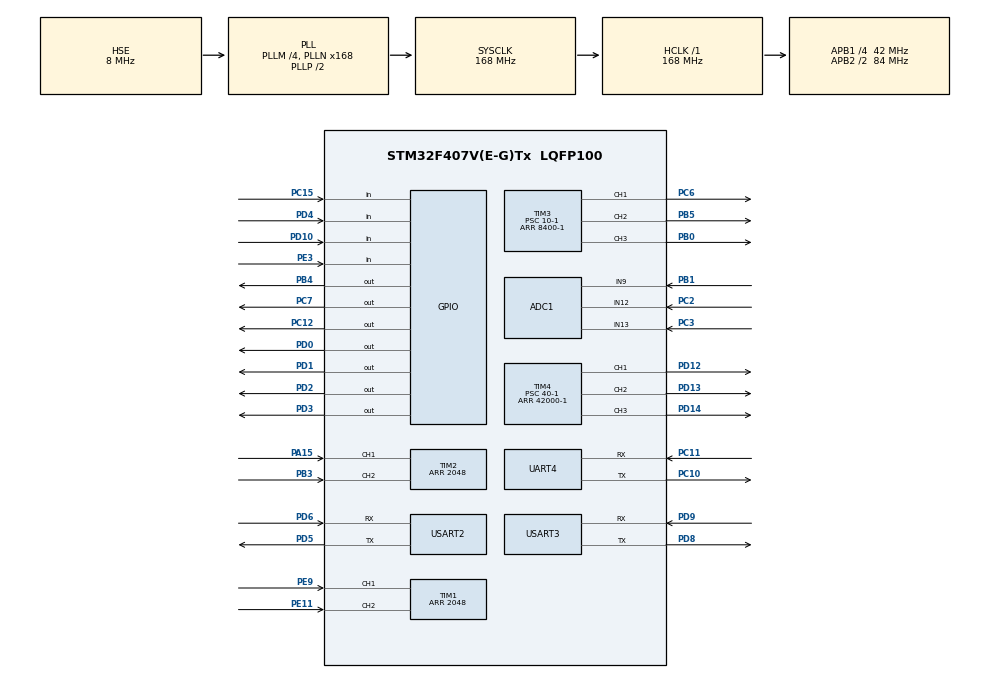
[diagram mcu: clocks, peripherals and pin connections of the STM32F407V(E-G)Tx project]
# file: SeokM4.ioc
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ADC1.Channel-0\#ChannelRegularConversion=ADC_CHANNEL_9
ADC1.Channel-1\#ChannelRegularConversion=ADC_CHANNEL_12
ADC1.Channel-2\#ChannelRegularConversion=ADC_CHANNEL_13
ADC1.ContinuousConvMode=ENABLE
ADC1.DMAContinuousRequests=ENABLE
ADC1.NbrOfConversion=3
ADC1.NbrOfConversionFlag=1
ADC1.Rank-0\#ChannelRegularConversion=1
ADC1.Rank-1\#ChannelRegularConversion=2
ADC1.Rank-2\#ChannelRegularConversion=3
ADC1.SamplingTime-0\#ChannelRegularConversion=ADC_SAMPLETIME_144CYCLES
ADC1.SamplingTime-1\#ChannelRegularConversion=ADC_SAMPLETIME_144CYCLES
ADC1.SamplingTime-2\#ChannelRegularConversion=ADC_SAMPLETIME_144CYCLES
ADC1.ScanConvMode=ENABLE
ADC1.master=1
Dma.ADC1.0.Direction=DMA_PERIPH_TO_MEMORY
Dma.ADC1.0.FIFOMode=DMA_FIFOMODE_DISABLE
Dma.ADC1.0.Instance=DMA2_Stream0
Dma.ADC1.0.MemDataAlignment=DMA_MDATAALIGN_HALFWORD
Dma.ADC1.0.MemInc=DMA_MINC_ENABLE
Dma.ADC1.0.Mode=DMA_CIRCULAR
Dma.ADC1.0.PeriphDataAlignment=DMA_PDATAALIGN_HALFWORD
Dma.ADC1.0.PeriphInc=DMA_PINC_DISABLE
Dma.ADC1.0.Priority=DMA_PRIORITY_LOW
Dma.Request0=ADC1
Mcu.Family=STM32F4
Mcu.Name=STM32F407V(E-G)Tx
Mcu.Package=LQFP100
NVIC.DMA2_Stream0_IRQn=true\:0\:0\:false\:false\:true\:false
NVIC.PriorityGroup=NVIC_PRIORITYGROUP_4
NVIC.TIM7_IRQn=true\:0\:0\:false\:true\:true\:2\:true
NVIC.UART4_IRQn=true\:0\:0\:false\:false\:true\:true
NVIC.USART2_IRQn=true\:0\:0\:false\:false\:true\:true
NVIC.USART3_IRQn=true\:0\:0\:false\:true\:true\:1\:true
PA15.GPIO_PuPd=GPIO_PULLUP
PA15.GPIO_Speed=GPIO_SPEED_FREQ_LOW
PA15.Signal=S_TIM2_CH1_ETR
PB0.Signal=S_TIM3_CH3
PB1.Signal=ADCx_IN9
PB3.GPIO_PuPd=GPIO_PULLUP
PB3.GPIO_Speed=GPIO_SPEED_FREQ_LOW
PB3.Signal=S_TIM2_CH2
PB4.Signal=GPIO_Output
PB5.Signal=S_TIM3_CH2
PC10.Mode=Asynchronous
PC10.Signal=UART4_TX
PC11.Mode=Asynchronous
PC11.Signal=UART4_RX
PC12.Signal=GPIO_Output
PC15-OSC32_OUT.Signal=GPIO_Input
PC2.Signal=ADCx_IN12
PC3.Signal=ADCx_IN13
PC6.Signal=S_TIM3_CH1
PC7.Signal=GPIO_Output
PD0.Signal=GPIO_Output
PD1.Signal=GPIO_Output
PD10.Signal=GPIO_Input
PD12.Signal=S_TIM4_CH1
PD13.Signal=S_TIM4_CH2
PD14.Signal=S_TIM4_CH3
PD2.Signal=GPIO_Output
PD3.Signal=GPIO_Output
PD4.Signal=GPIO_Input
PD5.Mode=Asynchronous
PD5.Signal=USART2_TX
PD6.Mode=Asynchronous
PD6.Signal=USART2_RX
PD8.Mode=Asynchronous
PD8.Signal=USART3_TX
PD9.Mode=Asynchronous
PD9.Signal=USART3_RX
PE11.GPIO_PuPd=GPIO_PULLUP
PE11.Signal=S_TIM1_CH2
PE3.Signal=GPIO_Input
PE9.GPIO_PuPd=GPIO_PULLUP
PE9.Signal=S_TIM1_CH1
PH0-OSC_IN.Mode=HSE-External-Oscillator
PH0-OSC_IN.Signal=RCC_OSC_IN
PH1-OSC_OUT.Mode=HSE-External-Oscillator
PH1-OSC_OUT.Signal=RCC_OSC_OUT
ProjectManager.HeapSize=0x200
ProjectManager.StackSize=0x400
ProjectManager.TargetToolchain=TrueSTUDIO
RCC.48MHZClocksFreq_Value=84000000
RCC.AHBFreq_Value=168000000
RCC.APB1CLKDivider=RCC_HCLK_DIV4
RCC.APB1Freq_Value=42000000
RCC.APB1TimFreq_Value=84000000
RCC.APB2CLKDivider=RCC_HCLK_DIV2
RCC.APB2Freq_Value=84000000
RCC.APB2TimFreq_Value=168000000
RCC.CortexFreq_Value=168000000
RCC.HCLKFreq_Value=168000000
RCC.HSE_VALUE=8000000
RCC.HSI_VALUE=16000000
RCC.LSE_VALUE=32768
RCC.PLLM=4
RCC.PLLN=168
RCC.PLLSourceVirtual=RCC_PLLSOURCE_HSE
RCC.SYSCLKFreq_VALUE=168000000
RCC.SYSCLKSource=RCC_SYSCLKSOURCE_PLLCLK
RCC.VCOOutputFreq_Value=336000000
SH.ADCx_IN12.0=ADC1_IN12,IN12
SH.ADCx_IN13.0=ADC1_IN13,IN13
SH.ADCx_IN9.0=ADC1_IN9,IN9
SH.S_TIM1_CH1.0=TIM1_CH1,Encoder_Interface
SH.S_TIM1_CH2.0=TIM1_CH2,Encoder_Interface
SH.S_TIM2_CH1_ETR.0=TIM2_CH1,Encoder_Interface
SH.S_TIM2_CH2.0=TIM2_CH2,Encoder_Interface
SH.S_TIM3_CH1.0=TIM3_CH1,PWM Generation1 CH1
SH.S_TIM3_CH2.0=TIM3_CH2,PWM Generation2 CH2
SH.S_TIM3_CH3.0=TIM3_CH3,PWM Generation3 CH3
SH.S_TIM4_CH1.0=TIM4_CH1,PWM Generation1 CH1
SH.S_TIM4_CH2.0=TIM4_CH2,PWM Generation2 CH2
SH.S_TIM4_CH3.0=TIM4_CH3,PWM Generation3 CH3
TIM1.Period=2048
TIM2.Period=2048
TIM3.Channel-PWM\ Generation1\ CH1=TIM_CHANNEL_1
TIM3.Channel-PWM\ Generation2\ CH2=TIM_CHANNEL_2
TIM3.Channel-PWM\ Generation3\ CH3=TIM_CHANNEL_3
TIM3.Period=8400-1
TIM3.Prescaler=10-1
TIM3.Pulse-PWM\ Generation1\ CH1=4200-1
TIM3.Pulse-PWM\ Generation2\ CH2=2100-1
TIM3.Pulse-PWM\ Generation3\ CH3=1050-1
TIM4.Channel-PWM\ Generation1\ CH1=TIM_CHANNEL_1
TIM4.Channel-PWM\ Generation2\ CH2=TIM_CHANNEL_2
TIM4.Channel-PWM\ Generation3\ CH3=TIM_CHANNEL_3
TIM4.Period=42000-1
TIM4.Prescaler=40-1
TIM4.Pulse-PWM\ Generation1\ CH1=21000-1
TIM4.Pulse-PWM\ Generation2\ CH2=10500-1
TIM4.Pulse-PWM\ Generation3\ CH3=5250-1
TIM7.Period=84-1
TIM7.Prescaler=1000-1
UART4.VirtualMode=Asynchronous
USART2.VirtualMode=VM_ASYNC
USART3.VirtualMode=VM_ASYNC
VP_TIM3_VS_ClockSourceINT.Mode=Internal
VP_TIM4_VS_ClockSourceINT.Mode=Internal
VP_TIM7_VS_ClockSourceINT.Mode=Enable_Timer
board=custom

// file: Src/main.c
/* USER CODE BEGIN Header */
/**
  ******************************************************************************
  * @file           : main.c
  * @brief          : Main program body
  ******************************************************************************
  ** This notice applies to any and all portions of this file
  * that are not between comment pairs USER CODE BEGIN and
  * USER CODE END. Other portions of this file, whether
  * inserted by the user or by software development tools
  * are owned by their respective copyright owners.
  *
  * COPYRIGHT(c) 2019 STMicroelectronics
  *
  * Redistribution and use in source and binary forms, with or without modification,
  * are permitted provided that the following conditions are met:
  *   1. Redistributions of source code must retain the above copyright notice,
  *      this list of conditions and the following disclaimer.
  *   2. Redistributions in binary form must reproduce the above copyright notice,
  *      this list of conditions and the following disclaimer in the documentation
  *      and/or other materials provided with the distribution.
  *   3. Neither the name of STMicroelectronics nor the names of its contributors
  *      may be used to endorse or promote products derived from this software
  *      without specific prior written permission.
  *
  * THIS SOFTWARE IS PROVIDED BY THE COPYRIGHT HOLDERS AND CONTRIBUTORS "AS IS"
  * AND ANY EXPRESS OR IMPLIED WARRANTIES, INCLUDING, BUT NOT LIMITED TO, THE
  * IMPLIED WARRANTIES OF MERCHANTABILITY AND FITNESS FOR A PARTICULAR PURPOSE ARE
  * DISCLAIMED. IN NO EVENT SHALL THE COPYRIGHT HOLDER OR CONTRIBUTORS BE LIABLE
  * FOR ANY DIRECT, INDIRECT, INCIDENTAL, SPECIAL, EXEMPLARY, OR CONSEQUENTIAL
  * DAMAGES (INCLUDING, BUT NOT LIMITED TO, PROCUREMENT OF SUBSTITUTE GOODS OR
  * SERVICES; LOSS OF USE, DATA, OR PROFITS; OR BUSINESS INTERRUPTION) HOWEVER
  * CAUSED AND ON ANY THEORY OF LIABILITY, WHETHER IN CONTRACT, STRICT LIABILITY,
  * OR TORT (INCLUDING NEGLIGENCE OR OTHERWISE) ARISING IN ANY WAY OUT OF THE USE
  * OF THIS SOFTWARE, EVEN IF ADVISED OF THE POSSIBILITY OF SUCH DAMAGE.
  *
  ******************************************************************************
  */
/* USER CODE END Header */

#include "main.h"
#include "adc.h"
#include "dma.h"
#include "tim.h"
#include "usart.h"
#include "gpio.h"

/* USER CODE BEGIN Includes */
#include <stdio.h>
#include <motor.h>
#include <string.h>
#include <stdlib.h>
#include <math.h>

/* USER CODE END Includes */

/* USER CODE BEGIN PTD */
uint8_t rx4_data,
		rx3_data,
		rx2_data;
int8_t int8_tim7flag=1;

char g_char_ReciveG[25];
/* USER CODE END PTD */

void SystemClock_Config(void);
static void MX_NVIC_Init(void);
/* USER CODE BEGIN PFP */
int _write(int file, char* p,int len)
{
	HAL_UART_Transmit(&huart3,p,len,10);
	return len;
}
/* USER CODE END PFP */

int main(void)
{

  /* MCU Configuration--------------------------------------------------------*/

  /* Reset of all peripherals, Initializes the Flash interface and the Systick. */
  HAL_Init();

  /* Configure the system clock */
  SystemClock_Config();

  /* Initialize all configured peripherals */
  MX_GPIO_Init();
  MX_DMA_Init();
  MX_USART3_UART_Init();
  MX_TIM7_Init();
  MX_TIM3_Init();
  MX_TIM4_Init();
  MX_ADC1_Init();
  MX_TIM2_Init();
  MX_USART2_UART_Init();
  MX_TIM1_Init();
  MX_UART4_Init();

  /* Initialize interrupts */
  MX_NVIC_Init();
  /* USER CODE BEGIN 2 */
HAL_UART_Receive_IT(&huart4, &rx4_data,1);
HAL_UART_Receive_IT(&huart3, &rx3_data,1);
HAL_UART_Receive_IT(&huart2, &rx2_data,1);
HAL_TIM_Base_Start_IT(&htim7);
HAL_TIM_PWM_Start(&htim3, TIM_CHANNEL_1);
HAL_TIM_PWM_Start(&htim3, TIM_CHANNEL_2);
HAL_TIM_PWM_Start(&htim3, TIM_CHANNEL_3);
HAL_TIM_PWM_Start(&htim4, TIM_CHANNEL_1);
HAL_TIM_PWM_Start(&htim4, TIM_CHANNEL_2);
HAL_TIM_PWM_Start(&htim4, TIM_CHANNEL_3);
HAL_TIM_Encoder_Start(&htim2,TIM_CHANNEL_1);
HAL_TIM_Encoder_Start(&htim1,TIM_CHANNEL_1);
  /* USER CODE END 2 */

  /* Infinite loop */
  /* USER CODE BEGIN WHILE */
  uint16_t ccr=0;
  InitMotor_L(&R_Motor);
  InitMotor_R(&L_Motor);
  g_uint16_pwm_flag=0;
  //R_Motor.f_User_Velocity=-200;
  L_Motor.f_User_Velocity=-200;
  g_servo_pulse=3200;
  while (1)
  {
	  HAL_UART_Receive_IT(&huart3, &rx3_data,1);
	  HAL_UART_Receive_IT(&huart2, &rx2_data,1);
	  HAL_UART_Receive_IT(&huart4, &rx4_data,1);
	 //__HAL_TIM_SET_COMPARE(&htim4,TIM_CHANNEL_1,ccr);
	 //TIM4->CCR1=ccr;
	 //ccr+=1000;
	 // if(ccr>TIM4->ARR) ccr=0;
	  HAL_Delay(20);
	  //printf("val0=%4d  val1=%4d  val2=%4d\r\n", adcval[0],adcval[1], adcval[2]);
	 // printf("roll : %3.2f, pitch : %3.2f, yaw : %3.2f\n\r",f_roll,f_pitch,f_yaw);
	 // HAL_GPIO_TogglePin(GPIOC, GPIO_PIN_12);
	  //printf("term : %04d\n\r",(uint32_t)R_Motor.f_pidoutresult);
	  //printf("cur : %4.4f   usr : %4.0f\n\r",R_Motor.f_Current_Velocity,R_Motor.f_User_Velocity);
	  //printf("roll : %3.2f, pitch : %3.2f, yaw : %3.2f, accel : %d\n\r",f_roll,f_pitch,f_yaw,(int)L_Motor.i32Accel);
	  //printf("enc : %4d\n\r",R_Motor.U16Qep_Sample);
	 //printf("Rm_usspeed:%4.2f,  RM_speed=%4.2f\n\r",R_Motor.f_User_Velocity ,R_Motor.f_pidoutresult);
	  //printf("offset : %2.2f, angle : %2.2f, kp:%4.2f,  ki:%4.2f, kd:%4.2f ,spd:%4.2f, nextv:%4.2f, pidout:%4.2f, acc:%4.2f\n\r",Angle.f_Next_angle_roll, Angle.f_Current_angle_roll,Angle.f_kp_roll,Angle.f_ki_roll,Angle.f_kd_roll,L_Motor.f_Current_Velocity_av,L_Motor.f_Next_Velocity,Angle.f_pidoutterm_roll,L_Motor.f_Accel);
	  printf("%2.2f, %2.2f, %4.2f\n\r",Angle.f_Next_angle_roll, Angle.f_Current_angle_roll, f_roll);
	  //printf("%d\n\r",g_servo_pulse);
	  //printf("kp:%4.2f,  ki:%4.2f, kd:%4.2f, servo:%d\n\r",Angle.f_kp_roll,Angle.f_ki_roll,Angle.f_kd_roll,g_servo_pulse);
	  //printf("%lf\n\r",sinf(f_pitch*0.017453));

	 /* HAL_GPIO_WritePin(GPIOD, GPIO_PIN_12, GPIO_PIN_RESET);
	  HAL_GPIO_WritePin(GPIOD, GPIO_PIN_13, GPIO_PIN_RESET);
	  HAL_GPIO_WritePin(GPIOD, GPIO_PIN_14, GPIO_PIN_RESET);

	  HAL_Delay(1000);
	  HAL_GPIO_WritePin(GPIOD, GPIO_PIN_12, GPIO_PIN_SET);
	  HAL_GPIO_WritePin(GPIOD, GPIO_PIN_13, GPIO_PIN_SET);
	  HAL_GPIO_WritePin(GPIOD, GPIO_PIN_14, GPIO_PIN_SET);
	  HAL_Delay(1000);
	  */

	 /*HAL_UART_Transmit(&huart3,&a, 1, 10);
	  HAL_Delay(1000);
	  if(HAL_UART_Receive(&huart3,&a,1,10)==HAL_OK)
	  {
		  HAL_UART_Transmit(&huart3,&a, 1, 10);
	  }
	 */
\
    /* USER CODE END WHILE */

  }
}

void SystemClock_Config(void)
{
  RCC_OscInitTypeDef RCC_OscInitStruct = {0};
  RCC_ClkInitTypeDef RCC_ClkInitStruct = {0};

  /**Configure the main internal regulator output voltage
  */
  __HAL_RCC_PWR_CLK_ENABLE();
  __HAL_PWR_VOLTAGESCALING_CONFIG(PWR_REGULATOR_VOLTAGE_SCALE1);
  /**Initializes the CPU, AHB and APB busses clocks
  */
  RCC_OscInitStruct.OscillatorType = RCC_OSCILLATORTYPE_HSE;
  RCC_OscInitStruct.HSEState = RCC_HSE_ON;
  RCC_OscInitStruct.PLL.PLLState = RCC_PLL_ON;
  RCC_OscInitStruct.PLL.PLLSource = RCC_PLLSOURCE_HSE;
  RCC_OscInitStruct.PLL.PLLM = 4;
  RCC_OscInitStruct.PLL.PLLN = 168;
  RCC_OscInitStruct.PLL.PLLP = RCC_PLLP_DIV2;
  RCC_OscInitStruct.PLL.PLLQ = 4;
  if (HAL_RCC_OscConfig(&RCC_OscInitStruct) != HAL_OK)
  {
    Error_Handler();
  }
  /**Initializes the CPU, AHB and APB busses clocks
  */
  RCC_ClkInitStruct.ClockType = RCC_CLOCKTYPE_HCLK|RCC_CLOCKTYPE_SYSCLK
                              |RCC_CLOCKTYPE_PCLK1|RCC_CLOCKTYPE_PCLK2;
  RCC_ClkInitStruct.SYSCLKSource = RCC_SYSCLKSOURCE_PLLCLK;
  RCC_ClkInitStruct.AHBCLKDivider = RCC_SYSCLK_DIV1;
  RCC_ClkInitStruct.APB1CLKDivider = RCC_HCLK_DIV4;
  RCC_ClkInitStruct.APB2CLKDivider = RCC_HCLK_DIV2;

  if (HAL_RCC_ClockConfig(&RCC_ClkInitStruct, FLASH_LATENCY_5) != HAL_OK)
  {
    Error_Handler();
  }
}

/**
  * @brief NVIC Configuration.
  * @retval None
  */
static void MX_NVIC_Init(void)
{
  /* USART3_IRQn interrupt configuration */
  HAL_NVIC_SetPriority(USART3_IRQn, 0, 0);
  HAL_NVIC_EnableIRQ(USART3_IRQn);
  /* TIM7_IRQn interrupt configuration */
  HAL_NVIC_SetPriority(TIM7_IRQn, 0, 0);
  HAL_NVIC_EnableIRQ(TIM7_IRQn);
}

/* USER CODE BEGIN 4 */
void HAL_UART_RxCpltCallback(UART_HandleTypeDef *huart)
{
	char receiver = 0;

	if(huart->Instance == USART3)
	{
			switch(rx3_data)
			{
				case 'w':
					 R_Motor.f_User_Velocity+=100;break;
				case 's':
					R_Motor.f_User_Velocity-=100;break;

				case 'a':
					g_servo_pulse-=50;break;
				case 'd':
					g_servo_pulse+=50;break;
				case 'j':
					Angle.f_kp_roll-=1;break;
				case 'u':
					Angle.f_kp_roll+=1;break;
				case 'k':
					Angle.f_kd_roll-=10;break;
				case 'i':
					Angle.f_kd_roll+=10;break;
				case 'l':
					Angle.f_ki_roll-=0.01;break;
				case 'o':
					Angle.f_ki_roll+=0.01;break;
				case '[':
					Angle.f_Next_angle_roll-=0.1;break;
				case ']':
					Angle.f_Next_angle_roll+=0.1;break;
				case 'g':
					g_uint16_pwm_flag=1;break;
				case 'f':
					g_uint16_pwm_flag=0;break;
			}
			//HAL_UART_Transmit(&huart3, &rx3_data, 1, 10);

			if( R_Motor.f_User_Velocity>4000)
				R_Motor.f_User_Velocity=4000;
			if( R_Motor.f_User_Velocity<-4000)
				R_Motor.f_User_Velocity=-4000;
//			if( L_Motor.f_User_Velocity>3000)
//				L_Motor.f_User_Velocity=3000;
//			if( L_Motor.f_User_Velocity<-3000)
//				L_Motor.f_User_Velocity=-3000;
			if(g_servo_pulse<2550)
				g_servo_pulse=2550;//900
			if(g_servo_pulse>3850)
				g_servo_pulse=3850;//5500

			rx3_data=NULL;
			HAL_UART_Receive_IT(&huart3, &rx3_data,1);

	}

	if(huart->Instance == USART2)
		{

		//HAL_UART_Transmit(&huart2, &rx2_data, 1, 10);
		receiver = rx2_data;
		//printf("%d\n\r",receiver);
			if( receiver == '\n' )
			{

				float temp_float[3];
				int num =0;
				for(int start=1,l=1;l<25;l++)
				{
					if(*(g_char_ReciveG+l)==','||*(g_char_ReciveG+l)=='\r')
					{
						*(g_char_ReciveG+l)=0;
						temp_float[num++] = atof(g_char_ReciveG+start);
						start = l+1;
						if(*(g_char_ReciveG+l)=='\r')	break;
					}
				}
				f_roll=temp_float[0];
				f_pitch=temp_float[1];
				f_yaw=temp_float[2];

				//printf("roll : %3.2lf, pitch : %3.2lf, yaw : %3.2lf\n\r",temp_float[0],temp_float[1],temp_float[2]);

				memset((void*) g_char_ReciveG,0, sizeof(char)*25 );

			}
			else
				strncat( (char *)g_char_ReciveG, (char *)&receiver, 1 );
			HAL_UART_Receive_IT(&huart2, &rx2_data,1);
		}
	if(huart->Instance==UART4)
	{
		switch(rx4_data)
					{
						case 'x':
							 R_Motor.f_User_Velocity=0;break;
						case 'w':
							 R_Motor.f_User_Velocity=200;break;
						case 's':
							R_Motor.f_User_Velocity=100;break;
						case 'a':
							g_servo_pulse-=50;break;
						case 'd':
							g_servo_pulse+=50;break;
						case 'j':
							Angle.f_kp_roll-=1;break;
						case 'u':
							Angle.f_kp_roll+=1;break;
						case 'k':
							Angle.f_kd_roll-=10;break;
						case 'i':
							Angle.f_kd_roll+=10;break;
						case 'l':
							Angle.f_ki_roll-=0.01;break;
						case 'o':
							Angle.f_ki_roll+=0.01;break;
						case '[':
							Angle.f_Next_angle_roll-=0.1;break;
						case ']':
							Angle.f_Next_angle_roll+=0.1;break;
						case 'g':
							g_uint16_pwm_flag=1;break;
						case 'f':
							g_uint16_pwm_flag=0;break;
						case '1':
							g_servo_pulse=2600;break;
						case '2':
							g_servo_pulse=2900;break;
						case '3':
							g_servo_pulse=3200;break;
						case '4':
							g_servo_pulse=3500;break;
						case '5':
							g_servo_pulse=3800;break;
					}
		if( R_Motor.f_User_Velocity>4000)
			R_Motor.f_User_Velocity=4000;
		if( R_Motor.f_User_Velocity<-4000)
			R_Motor.f_User_Velocity=-4000;
		if(g_servo_pulse<2550)
			g_servo_pulse=2550;//900
		if(g_servo_pulse>3850)
			g_servo_pulse=3850;//5500
	}
}

//void HAL_TIM_PeriodElapsedCallback(TIM_HandleTypeDef *htim)
//{
//	if(htim->Instance == TIM7)
//	{
////		if(int8_tim7flag==1)
////		{
////			HAL_GPIO_WritePin(GPIOD, GPIO_PIN_12, GPIO_PIN_RESET);
////			HAL_GPIO_WritePin(GPIOD, GPIO_PIN_13, GPIO_PIN_RESET);
////			HAL_GPIO_WritePin(GPIOD, GPIO_PIN_14, GPIO_PIN_RESET);
////
////			int8_tim7flag=0;
////		}
////		else
////		{
////			HAL_GPIO_WritePin(GPIOD, GPIO_PIN_12, GPIO_PIN_SET);
////			HAL_GPIO_WritePin(GPIOD, GPIO_PIN_13, GPIO_PIN_SET);
////			HAL_GPIO_WritePin(GPIOD, GPIO_PIN_14, GPIO_PIN_SET);
////			int8_tim7flag=1;
////		}
//	}
//}
/* USER CODE END 4 */

void Error_Handler(void)
{
}

/************************ (C) COPYRIGHT STMicroelectronics *****END OF FILE****/
